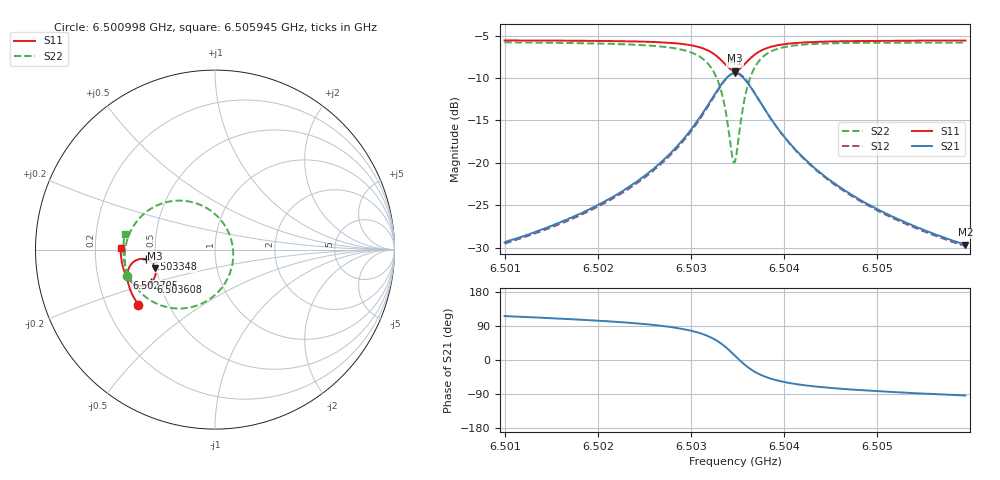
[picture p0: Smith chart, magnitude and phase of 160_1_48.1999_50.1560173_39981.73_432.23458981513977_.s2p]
#  HZ  S  RI  R  50.00
! Rohde & Schwarz Vector Network Analyzer
! Rohde-Schwarz,ZNB20-2Port,1311601062101988,3.16
! Created: UTC 3/20/2024, 11:43:10 AM
! freq[Hz]  re:S11  im:S11  re:S21  im:S21  re:S12  im:S12  re:S22  im:S22
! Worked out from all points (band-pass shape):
!   401 points, 6.500998 GHz to 6.505945 GHz, reference 50 ohm
!   highest |S21| = -9.43 dB at 6.503471 GHz (marker M1); lowest = -29.6 dB at 6.505945 GHz (marker M2)
!   |S21| within 3 dB of the highest: 6.503224 GHz to 6.503718 GHz (494.1 kHz wide, 0.0076 % of centre)
!   lowest |S11| = -9.1 dB at 6.503471 GHz (marker M3), VSWR 2.08, Z = 24.5 - j5.86 ohm
!   |S11| at or under -10 dB: nowhere
!   |S22| runs from -20.0 to -5.8 dB; largest |S21 - S12| = 0.012
!   S11 on the Smith chart (normalised r, x): 6.500998 GHz: 0.34, -0.29; 6.502705 GHz: 0.33, -0.14; 6.503348 GHz: 0.44, -0.06; 6.503608 GHz: 0.45, -0.19; 6.505945 GHz: 0.31, +0.01
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6.5009983e9  -0.4284 -0.3061  -0.0149 0.0306  -0.0131 0.0308  -0.4916 -0.1491
6.5018268e9  -0.4637 -0.2444  -0.0141 0.0487  -0.0117 0.0483  -0.5038 -0.0602
6.5022596e9  -0.4788 -0.2059  -0.0114 0.0671  -0.00833 0.066  -0.5005 0.00178
6.5026553e9  -0.4881 -0.1618  -0.00165 0.0984  0.00195 0.096  -0.4796 0.0817
6.5027048e9  -0.4886 -0.1553  0.000768 0.1043  0.00454 0.1016  -0.4741 0.0944
6.5029398e9  -0.4852 -0.1185  0.0234 0.141  0.0273 0.1367  -0.4267 0.1688
6.5031005e9  -0.4708 -0.0864  0.0626 0.1769  0.0655 0.1711  -0.3502 0.2322
6.5032489e9  -0.4331 -0.0567  0.1442 0.2057  0.1451 0.1993  -0.2014 0.2731
6.5033478e9  -0.3867 -0.0539  0.2354 0.189  0.2357 0.1841  -0.0433 0.2299
6.5034344e9  -0.3442 -0.0829  0.3134 0.1144  0.3158 0.1099  0.081 0.0828
6.5034591e9  -0.3362 -0.0971  0.3267 0.0827  0.3299 0.0775  0.0978 0.0227
6.5034715e9  -0.3335 -0.1049  0.331 0.0659  0.3344 0.06  0.1013 -0.00862
6.5034962e9  -0.3305 -0.1209  0.3341 0.0312  0.338 0.0242  0.0987 -0.072
6.5035333e9  -0.3327 -0.1449  0.3269 -0.0188  0.33 -0.0279  0.0708 -0.1604
6.5036075e9  -0.3551 -0.1815  0.2802 -0.0947  0.2797 -0.1062  -0.0393 -0.2824
6.5037064e9  -0.3958 -0.2007  0.2023 -0.1377  0.1972 -0.1476  -0.1978 -0.3283
6.5038672e9  -0.4447 -0.193  0.1148 -0.137  0.1075 -0.1424  -0.357 -0.2842
6.5040403e9  -0.4736 -0.1718  0.0671 -0.1164  0.0607 -0.1187  -0.4346 -0.2171
6.5043e9  -0.496 -0.1404  0.0344 -0.0899  0.0295 -0.0903  -0.4819 -0.1393
6.5046586e9  -0.5112 -0.1025  0.0156 -0.0665  0.0122 -0.0661  -0.5041 -0.0659
6.5051285e9  -0.5209 -0.0587  0.00502 -0.0491  0.00282 -0.0483  -0.5107 0.00193
6.5059447e9  -0.5259 0.0108  -0.0021 -0.0329  -0.00344 -0.0322  -0.503 0.0895
